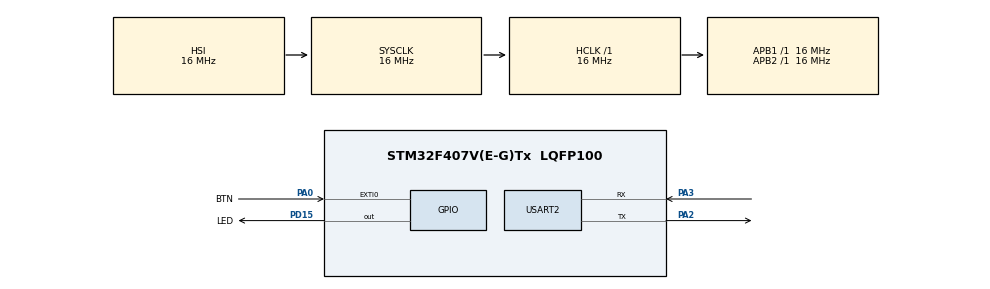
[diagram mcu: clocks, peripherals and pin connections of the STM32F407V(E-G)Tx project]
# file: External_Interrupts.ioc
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Mcu.Family=STM32F4
Mcu.Name=STM32F407V(E-G)Tx
Mcu.Package=LQFP100
NVIC.EXTI0_IRQn=true\:0\:0\:false\:false\:true\:true\:true\:true
NVIC.PriorityGroup=NVIC_PRIORITYGROUP_4
PA0-WKUP.GPIO_Label=BTN
PA0-WKUP.GPIO_PuPd=GPIO_NOPULL
PA0-WKUP.Signal=GPXTI0
PA2.Mode=Asynchronous
PA2.Signal=USART2_TX
PA3.Mode=Asynchronous
PA3.Signal=USART2_RX
PD15.GPIO_Label=LED
PD15.Signal=GPIO_Output
ProjectManager.HeapSize=0x200
ProjectManager.StackSize=0x400
ProjectManager.TargetToolchain=STM32CubeIDE
RCC.AHBFreq_Value=16000000
RCC.APB1Freq_Value=16000000
RCC.APB2Freq_Value=16000000
RCC.CortexFreq_Value=16000000
RCC.HSE_VALUE=25000000
RCC.HSI_VALUE=16000000
RCC.LSE_VALUE=32768
RCC.SYSCLKFreq_VALUE=16000000
RCC.VCOOutputFreq_Value=192000000
USART2.VirtualMode=VM_ASYNC
board=custom

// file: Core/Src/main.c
/* USER CODE BEGIN Header */
/**
  ******************************************************************************
  * @file           : main.c
  * @brief          : Main program body
  ******************************************************************************
  * @attention
  *
  * Copyright (c) 2026 STMicroelectronics.
  * All rights reserved.
  *
  * This software is licensed under terms that can be found in the LICENSE file
  * in the root directory of this software component.
  * If no LICENSE file comes with this software, it is provided AS-IS.
  *
  ******************************************************************************
  */
/* USER CODE END Header */
#include "main.h"

/* USER CODE BEGIN Includes */
#include <stdio.h>
/* USER CODE END Includes */

UART_HandleTypeDef huart2;

/* USER CODE BEGIN PV */
volatile uint8_t BTN_press;

uint16_t blink_delays[] = {
		500,
		250,
		50
};

uint8_t blink_delay = 0;
/* USER CODE END PV */

void SystemClock_Config(void);
static void MX_GPIO_Init(void);
static void MX_USART2_UART_Init(void);

/* USER CODE BEGIN 0 */
int _write(int fd, char *ptr, int len){
HAL_StatusTypeDef hstatus;

if (fd == 1 || fd == 2){
	hstatus = HAL_UART_Transmit(&huart2, (uint8_t*)ptr, len, HAL_MAX_DELAY);
	if(hstatus == HAL_OK)
		return 0;
	else
		return -1;
}

}

void HAL_GPIO_EXTI_Callback(uint16_t GPIO_Pin){
	if (GPIO_Pin == BTN_Pin){
		BTN_press = 1;
	}
}
/* USER CODE END 0 */

int main(void)
{

  /* MCU Configuration--------------------------------------------------------*/

  /* Reset of all peripherals, Initializes the Flash interface and the Systick. */
  HAL_Init();

  /* Configure the system clock */
  SystemClock_Config();

  /* Initialize all configured peripherals */
  MX_GPIO_Init();
  MX_USART2_UART_Init();

  /* Infinite loop */
  /* USER CODE BEGIN WHILE */
  uint32_t now =0, last_blink = 0, last_tick = 0;
  while (1)
  {
	  now = HAL_GetTick();

	  if(now - last_blink >= blink_delays[blink_delay]){
		  HAL_GPIO_TogglePin(LED_GPIO_Port, LED_Pin);

		  last_blink = now;
	  }

	  if (now - last_tick >= 1000)
	  {
		  printf("Tick %lu \r\n", now/1000);
		  last_tick = now;
	  }

	  if (BTN_press == 1){
		  ++blink_delay;
		  if(blink_delay >= sizeof(blink_delays) / sizeof(blink_delays[0])) blink_delay = 0;
		  printf("Button Press");
		  BTN_press = 0;
	  }

    /* USER CODE END WHILE */

  }
}

void SystemClock_Config(void)
{
  RCC_OscInitTypeDef RCC_OscInitStruct = {0};
  RCC_ClkInitTypeDef RCC_ClkInitStruct = {0};

  /** Configure the main internal regulator output voltage
  */
  __HAL_RCC_PWR_CLK_ENABLE();
  __HAL_PWR_VOLTAGESCALING_CONFIG(PWR_REGULATOR_VOLTAGE_SCALE1);

  /** Initializes the RCC Oscillators according to the specified parameters
  * in the RCC_OscInitTypeDef structure.
  */
  RCC_OscInitStruct.OscillatorType = RCC_OSCILLATORTYPE_HSI;
  RCC_OscInitStruct.HSIState = RCC_HSI_ON;
  RCC_OscInitStruct.HSICalibrationValue = RCC_HSICALIBRATION_DEFAULT;
  RCC_OscInitStruct.PLL.PLLState = RCC_PLL_NONE;
  if (HAL_RCC_OscConfig(&RCC_OscInitStruct) != HAL_OK)
  {
    Error_Handler();
  }

  /** Initializes the CPU, AHB and APB buses clocks
  */
  RCC_ClkInitStruct.ClockType = RCC_CLOCKTYPE_HCLK|RCC_CLOCKTYPE_SYSCLK
                              |RCC_CLOCKTYPE_PCLK1|RCC_CLOCKTYPE_PCLK2;
  RCC_ClkInitStruct.SYSCLKSource = RCC_SYSCLKSOURCE_HSI;
  RCC_ClkInitStruct.AHBCLKDivider = RCC_SYSCLK_DIV1;
  RCC_ClkInitStruct.APB1CLKDivider = RCC_HCLK_DIV1;
  RCC_ClkInitStruct.APB2CLKDivider = RCC_HCLK_DIV1;

  if (HAL_RCC_ClockConfig(&RCC_ClkInitStruct, FLASH_LATENCY_0) != HAL_OK)
  {
    Error_Handler();
  }
}

static void MX_USART2_UART_Init(void)
{

  huart2.Instance = USART2;
  huart2.Init.BaudRate = 115200;
  huart2.Init.WordLength = UART_WORDLENGTH_8B;
  huart2.Init.StopBits = UART_STOPBITS_1;
  huart2.Init.Parity = UART_PARITY_NONE;
  huart2.Init.Mode = UART_MODE_TX_RX;
  huart2.Init.HwFlowCtl = UART_HWCONTROL_NONE;
  huart2.Init.OverSampling = UART_OVERSAMPLING_16;
  if (HAL_UART_Init(&huart2) != HAL_OK)
  {
    Error_Handler();
  }

}

static void MX_GPIO_Init(void)
{
  GPIO_InitTypeDef GPIO_InitStruct = {0};

  /* GPIO Ports Clock Enable */
  __HAL_RCC_GPIOA_CLK_ENABLE();
  __HAL_RCC_GPIOD_CLK_ENABLE();

  /*Configure GPIO pin Output Level */
  HAL_GPIO_WritePin(LED_GPIO_Port, LED_Pin, GPIO_PIN_RESET);

  /*Configure GPIO pin : BTN_Pin */
  GPIO_InitStruct.Pin = BTN_Pin;
  GPIO_InitStruct.Mode = GPIO_MODE_IT_RISING;
  GPIO_InitStruct.Pull = GPIO_NOPULL;
  HAL_GPIO_Init(BTN_GPIO_Port, &GPIO_InitStruct);

  /*Configure GPIO pin : LED_Pin */
  GPIO_InitStruct.Pin = LED_Pin;
  GPIO_InitStruct.Mode = GPIO_MODE_OUTPUT_PP;
  GPIO_InitStruct.Pull = GPIO_NOPULL;
  GPIO_InitStruct.Speed = GPIO_SPEED_FREQ_LOW;
  HAL_GPIO_Init(LED_GPIO_Port, &GPIO_InitStruct);

  /* EXTI interrupt init*/
  HAL_NVIC_SetPriority(EXTI0_IRQn, 0, 0);
  HAL_NVIC_EnableIRQ(EXTI0_IRQn);

}

void Error_Handler(void)
{
  __disable_irq();
  while (1)
  {
  }
}
